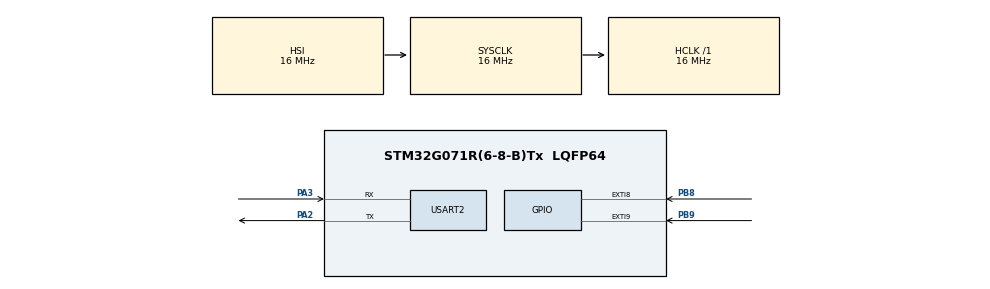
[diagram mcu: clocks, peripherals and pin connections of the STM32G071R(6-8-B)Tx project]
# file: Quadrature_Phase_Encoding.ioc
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Mcu.Family=STM32G0
Mcu.Name=STM32G071R(6-8-B)Tx
Mcu.Package=LQFP64
NVIC.EXTI4_15_IRQn=true\:0\:0\:false\:false\:true\:true\:true\:true
NVIC.TIM3_IRQn=true\:0\:0\:false\:false\:true\:true\:true\:true
PA2.Mode=Asynchronous
PA2.Signal=USART2_TX
PA3.Mode=Asynchronous
PA3.Signal=USART2_RX
PB8.GPIO_ModeDefaultEXTI=GPIO_MODE_IT_RISING_FALLING
PB8.Signal=GPXTI8
PB9.GPIO_ModeDefaultEXTI=GPIO_MODE_IT_RISING_FALLING
PB9.Signal=GPXTI9
ProjectManager.HeapSize=0x200
ProjectManager.StackSize=0x400
ProjectManager.TargetToolchain=STM32CubeIDE
RCC.AHBFreq_Value=16000000
RCC.CortexFreq_Value=16000000
RCC.EXTERNAL_CLOCK_VALUE=48000
RCC.HCLKFreq_Value=16000000
RCC.HSE_VALUE=8000000
RCC.HSI_VALUE=16000000
RCC.LSE_VALUE=32768
RCC.SYSCLKFreq_VALUE=16000000
RCC.VCOOutputFreq_Value=128000000
TIM3.Period=999
TIM3.Prescaler=15999
USART2.VirtualMode-Asynchronous=VM_ASYNC
VP_TIM3_VS_ClockSourceINT.Mode=Internal
board=custom

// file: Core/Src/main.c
/* USER CODE BEGIN Header */
/**
  ******************************************************************************
  * @file           : main.c
  * @brief          : Main program body
  ******************************************************************************
  * @attention
  *
  * Copyright (c) 2024 STMicroelectronics.
  * All rights reserved.
  *
  * This software is licensed under terms that can be found in the LICENSE file
  * in the root directory of this software component.
  * If no LICENSE file comes with this software, it is provided AS-IS.
  *
  ******************************************************************************
  */
/* USER CODE END Header */
#include "main.h"
#include <stdio.h>
#include "FSM.h"

TIM_HandleTypeDef htim3;

UART_HandleTypeDef huart2;

/* USER CODE BEGIN PV */
FSMType fsm;
/* USER CODE END PV */

void SystemClock_Config(void);
static void MX_GPIO_Init(void);
static void MX_TIM3_Init(void);
static void MX_USART2_UART_Init(void);

/* USER CODE BEGIN 0 */
int _write(int file, char *ptr, int len) {
    HAL_UART_Transmit(&huart2, (uint8_t *)ptr, len, HAL_MAX_DELAY);
    return len;
}

/* USER CODE END 0 */

int main(void)
{

  /* MCU Configuration--------------------------------------------------------*/

  /* Reset of all peripherals, Initializes the Flash interface and the Systick. */
  HAL_Init();

  /* Configure the system clock */
  SystemClock_Config();

  /* Initialize all configured peripherals */
  MX_GPIO_Init();
  MX_TIM3_Init();
  MX_USART2_UART_Init();
  /* USER CODE BEGIN 2 */
  InitializeFSM(&fsm);
  HAL_TIM_Base_Start_IT(&htim3);

  /* USER CODE END 2 */

  /* Infinite loop */
  while (1)
  {

  }
}

void SystemClock_Config(void)
{
  RCC_OscInitTypeDef RCC_OscInitStruct = {0};
  RCC_ClkInitTypeDef RCC_ClkInitStruct = {0};

  /** Configure the main internal regulator output voltage
  */
  HAL_PWREx_ControlVoltageScaling(PWR_REGULATOR_VOLTAGE_SCALE1);

  /** Initializes the RCC Oscillators according to the specified parameters
  * in the RCC_OscInitTypeDef structure.
  */
  RCC_OscInitStruct.OscillatorType = RCC_OSCILLATORTYPE_HSI;
  RCC_OscInitStruct.HSIState = RCC_HSI_ON;
  RCC_OscInitStruct.HSIDiv = RCC_HSI_DIV1;
  RCC_OscInitStruct.HSICalibrationValue = RCC_HSICALIBRATION_DEFAULT;
  RCC_OscInitStruct.PLL.PLLState = RCC_PLL_NONE;
  if (HAL_RCC_OscConfig(&RCC_OscInitStruct) != HAL_OK)
  {
    Error_Handler();
  }

  /** Initializes the CPU, AHB and APB buses clocks
  */
  RCC_ClkInitStruct.ClockType = RCC_CLOCKTYPE_HCLK|RCC_CLOCKTYPE_SYSCLK
                              |RCC_CLOCKTYPE_PCLK1;
  RCC_ClkInitStruct.SYSCLKSource = RCC_SYSCLKSOURCE_HSI;
  RCC_ClkInitStruct.AHBCLKDivider = RCC_SYSCLK_DIV1;
  RCC_ClkInitStruct.APB1CLKDivider = RCC_HCLK_DIV1;

  if (HAL_RCC_ClockConfig(&RCC_ClkInitStruct, FLASH_LATENCY_0) != HAL_OK)
  {
    Error_Handler();
  }
}

static void MX_TIM3_Init(void)
{

  TIM_ClockConfigTypeDef sClockSourceConfig = {0};
  TIM_MasterConfigTypeDef sMasterConfig = {0};

  htim3.Instance = TIM3;
  htim3.Init.Prescaler = 15999;
  htim3.Init.CounterMode = TIM_COUNTERMODE_UP;
  htim3.Init.Period = 999;
  htim3.Init.ClockDivision = TIM_CLOCKDIVISION_DIV1;
  htim3.Init.AutoReloadPreload = TIM_AUTORELOAD_PRELOAD_DISABLE;
  if (HAL_TIM_Base_Init(&htim3) != HAL_OK)
  {
    Error_Handler();
  }
  sClockSourceConfig.ClockSource = TIM_CLOCKSOURCE_INTERNAL;
  if (HAL_TIM_ConfigClockSource(&htim3, &sClockSourceConfig) != HAL_OK)
  {
    Error_Handler();
  }
  sMasterConfig.MasterOutputTrigger = TIM_TRGO_RESET;
  sMasterConfig.MasterSlaveMode = TIM_MASTERSLAVEMODE_DISABLE;
  if (HAL_TIMEx_MasterConfigSynchronization(&htim3, &sMasterConfig) != HAL_OK)
  {
    Error_Handler();
  }

}

static void MX_USART2_UART_Init(void)
{

  huart2.Instance = USART2;
  huart2.Init.BaudRate = 115200;
  huart2.Init.WordLength = UART_WORDLENGTH_8B;
  huart2.Init.StopBits = UART_STOPBITS_1;
  huart2.Init.Parity = UART_PARITY_NONE;
  huart2.Init.Mode = UART_MODE_TX_RX;
  huart2.Init.HwFlowCtl = UART_HWCONTROL_NONE;
  huart2.Init.OverSampling = UART_OVERSAMPLING_16;
  huart2.Init.OneBitSampling = UART_ONE_BIT_SAMPLE_DISABLE;
  huart2.Init.ClockPrescaler = UART_PRESCALER_DIV1;
  huart2.AdvancedInit.AdvFeatureInit = UART_ADVFEATURE_NO_INIT;
  if (HAL_UART_Init(&huart2) != HAL_OK)
  {
    Error_Handler();
  }
  if (HAL_UARTEx_SetTxFifoThreshold(&huart2, UART_TXFIFO_THRESHOLD_1_8) != HAL_OK)
  {
    Error_Handler();
  }
  if (HAL_UARTEx_SetRxFifoThreshold(&huart2, UART_RXFIFO_THRESHOLD_1_8) != HAL_OK)
  {
    Error_Handler();
  }
  if (HAL_UARTEx_DisableFifoMode(&huart2) != HAL_OK)
  {
    Error_Handler();
  }

}

static void MX_GPIO_Init(void)
{
  GPIO_InitTypeDef GPIO_InitStruct = {0};

  /* GPIO Ports Clock Enable */
  __HAL_RCC_GPIOA_CLK_ENABLE();
  __HAL_RCC_GPIOB_CLK_ENABLE();

  /*Configure GPIO pins : PB8 PB9 */
  GPIO_InitStruct.Pin = GPIO_PIN_8|GPIO_PIN_9;
  GPIO_InitStruct.Mode = GPIO_MODE_IT_RISING_FALLING;
  GPIO_InitStruct.Pull = GPIO_NOPULL;
  HAL_GPIO_Init(GPIOB, &GPIO_InitStruct);

  /* EXTI interrupt init*/
  HAL_NVIC_SetPriority(EXTI4_15_IRQn, 0, 0);
  HAL_NVIC_EnableIRQ(EXTI4_15_IRQn);

}

/* USER CODE BEGIN 4 */
volatile int signalTransitionA = 0;
volatile int signalTransitionB = 0;

void HAL_GPIO_EXTI_Callback(uint16_t GPIO_Pin){
	if (GPIO_Pin == GPIO_PIN_8 ) {
		signalTransitionA++;

	}else if( GPIO_Pin == GPIO_PIN_9){
		signalTransitionB++;
	}
	    int a = HAL_GPIO_ReadPin(GPIOB, GPIO_PIN_8);
	    int b = HAL_GPIO_ReadPin(GPIOB, GPIO_PIN_9);

	    fsm.CurrentInput = (a << 1) | b;
	    NextDirectionFunction(&fsm);

}
void HAL_GPIO_EXTI_Rising_Callback(uint16_t GPIO_Pin){
	HAL_GPIO_EXTI_Callback(GPIO_Pin);
}
void HAL_GPIO_EXTI_Falling_Callback(uint16_t GPIO_Pin) {
    HAL_GPIO_EXTI_Callback(GPIO_Pin);
}

void HAL_TIM_PeriodElapsedCallback(TIM_HandleTypeDef *htim){
	if(htim->Instance ==TIM3){
		int frequencyA = signalTransitionA/2;
		int frequencyB = signalTransitionB/2;
		const char *direction_str = (fsm.Direction == CW) ? "Clockwise" : "Counterclockwise";
		printf("Speed_A = %d Hz, SpeedB = %d Hz      Direction: %s\r\n", frequencyA,frequencyB, direction_str);

	    signalTransitionA = 0;
	    signalTransitionB = 0;

	}
}

/* USER CODE END 4 */

void Error_Handler(void)
{
  __disable_irq();
  while (1)
  {
  }
}
